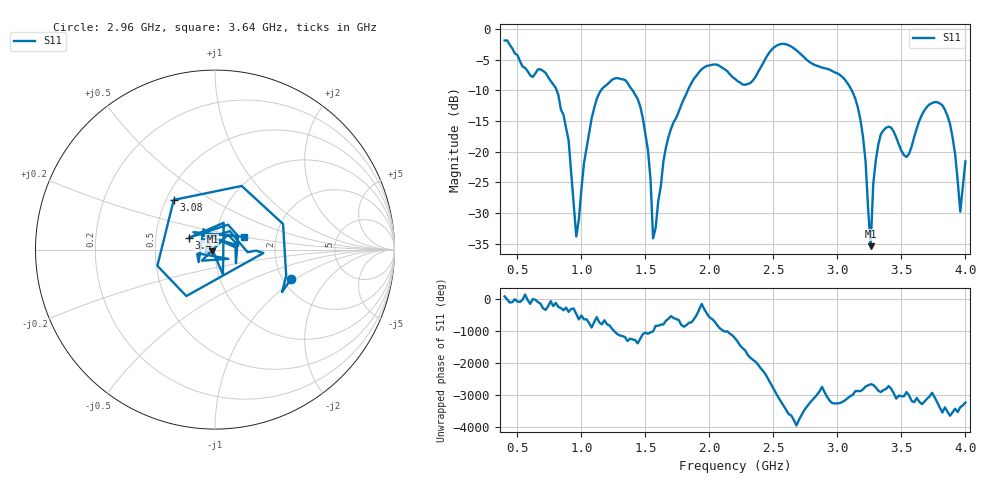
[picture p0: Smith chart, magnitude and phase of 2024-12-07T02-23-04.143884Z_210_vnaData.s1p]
!Created with skrf (http://scikit-rf.org).
# Hz S RI R 50.0
!freq ReS11 ImS11
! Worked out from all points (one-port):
!   181 points, 400 MHz to 4 GHz, reference 50 ohm
!   lowest |S11| = -35.4 dB at 3.26 GHz (marker M1), VSWR 1.03, Z = 48.6 - j0.927 ohm
!   |S11| at or under -10 dB: 806.5 MHz to 1.154 GHz (347.1 MHz wide, 35.4 % of centre); 1.4 GHz to 1.832 GHz (432 MHz wide, 26.7 % of centre); 3.112 GHz to end of sweep
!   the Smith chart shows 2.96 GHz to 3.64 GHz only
!   S11 on the Smith chart (normalised r, x): 2.96 GHz: 2.22, -0.91; 3.08 GHz: 0.55, +0.35; 3.4 GHz: 0.74, +0.10; 3.64 GHz: 1.37, +0.20
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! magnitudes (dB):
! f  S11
! 400 MHz  -1.9
! 720 MHz  -7.2
! 860 MHz  -14.0
! 900 MHz  -18.2
! 960 MHz  -33.8
! 1.1 GHz  -12.9
! 1.3 GHz  -8.1
! 1.48 GHz  -14.6
! 1.54 GHz  -24.5
! 1.56 GHz  -34.1
! 1.66 GHz  -19.4
! 1.76 GHz  -13.5
! 1.96 GHz  -6.3
! 2.2 GHz  -8.1
! 2.66 GHz  -3.2
! 2.96 GHz  -6.9
! 3.08 GHz  -8.9
! 3.1 GHz  -9.5
! 3.2 GHz  -17.6
! 3.26 GHz  -35.4
! 3.3 GHz  -21.4
! 3.4 GHz  -15.9
! 3.56 GHz  -20.4
! 3.64 GHz  -15.0
! 3.84 GHz  -13.2
! 3.92 GHz  -20.4
! 3.96 GHz  -29.8
! 4 GHz  -21.6
